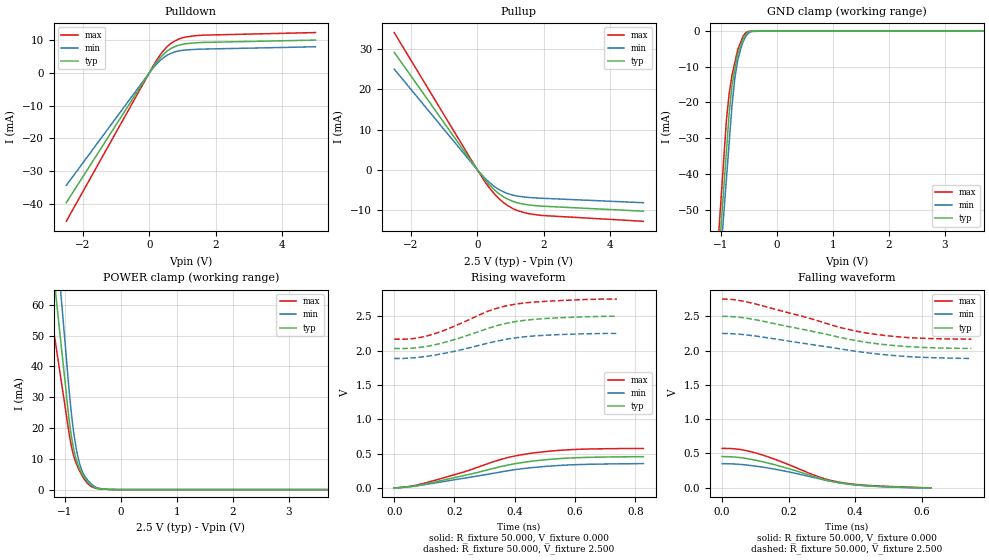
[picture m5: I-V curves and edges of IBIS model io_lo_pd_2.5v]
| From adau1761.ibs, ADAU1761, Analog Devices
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[Model]   io_lo_pd_2.5v
Model_type I/O
Vinl=7.500E-01
Vinh=1.750E+00
Vref=0.000E+00
Rref=1.000E+06
Cref=0.000E+00
Vmeas=1.250E+00
C_comp   5.9300E-13   5.6335E-13   6.2265E-13
[Voltage Range]   2.500E+00   2.250E+00   2.750E+00
[POWER Clamp Reference]   2.500E+00   2.250E+00   2.750E+00
[GND Clamp Reference]   0.000E+00   0.000E+00   0.000E+00
[Pullup Reference]   2.500E+00   2.250E+00   2.750E+00
[Pulldown Reference]   0.000E+00   0.000E+00   0.000E+00
[Temperature Range]   25   85   -40
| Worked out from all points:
|   slope of the pulldown table from 0 to 0.375 V, typ, clamps not added: 73.6 ohm
|   slope of the pullup table from 0 to 0.375 V, typ, clamps not added: 98.3 ohm
|   GND clamp passes 1 mA (typ) near -0.55 V on its own axis
|   POWER clamp passes 1 mA (typ) near -0.50 V on its own axis
|   rising waveform, R_fixture 50.000, V_fixture 0.000: 20-80 % time 277ps typ, 297ps min, 257ps max; typ from 0 V to 0.455 V
|   falling waveform, R_fixture 50.000, V_fixture 0.000: 20-80 % time 198ps typ, 209ps min, 188ps max; typ from 0.455 V to 0 V
|   rising waveform, R_fixture 50.000, V_fixture 2.500: 20-80 % time 211ps typ, 224ps min, 196ps max; typ from 2.03 V to 2.5 V
|   falling waveform, R_fixture 50.000, V_fixture 2.500: 20-80 % time 285ps typ, 303ps min, 268ps max; typ from 2.5 V to 2.03 V
[GND Clamp]
-2.5V     -381.4mA   -371.5mA   -393.2mA
-900mV    -33.63mA   -41.3mA    -24.8mA
-850mV    -22.77mA   -30.98mA   -17.38mA
-800mV    -15.14mA   -20.67mA   -12.36mA
-750mV    -10.83mA   -13.28mA   -8.858mA
-700mV    -6.525mA   -8.291mA   -5.352mA
-650mV    -4.333mA   -5.277mA   -3.365mA
-600mV    -2.14mA    -2.967mA   -1.379mA
-550mV    -873.5uA   -1.422mA   -434.8uA
-450mV    -57.55uA   -158uA     -76.16uA
-225mV    -9.459uA   -6.37uA    -2.898uA
5V        20uA       33.33uA    12.5uA
[Power Clamp]
-2.5V     292mA      367.3mA    208.9mA
-2.46V    285.1mA    358.2mA    203.7mA
-1.02V    38.54mA    52.11mA    29.5mA
-940mV    24.67mA    34.93mA    19.7mA
-900mV    19mA       27.15mA    15.37mA
-860mV    14.54mA    20.69mA    11.99mA
-800mV    9.811mA    13.41mA    8.515mA
-740mV    6.83mA     8.512mA    6.066mA
-680mV    4.697mA    5.489mA    4.096mA
-500mV    984.6uA    1.351mA    743.6uA
-20mV     0A         0A         0A
5V        0A         0A         0A
[Pullup]
-2.5V     29.2mA     25.01mA    34.09mA
0V        0A         -300.7nA   -195.6nA
240mV     -2.554mA   -2.191mA   -3.102mA
540mV     -5.158mA   -4.312mA   -6.225mA
800mV     -6.785mA   -5.542mA   -8.225mA
1.08V     -7.878mA   -6.332mA   -9.691mA
1.22V     -8.238mA   -6.559mA   -10.18mA
1.76V     -8.93mA    -7.006mA   -11.19mA
5V        -10.3mA    -8.194mA   -12.81mA
[Pulldown]
-2.5V     -39.59mA   -34.32mA   -45.27mA
80mV      1.248mA    1.039mA    1.475mA
180mV     2.708mA    2.242mA    3.214mA
400mV     5.373mA    4.392mA    6.431mA
620mV     7.211mA    5.81mA     8.719mA
940mV     8.551mA    6.759mA    10.48mA
1.38V     9.138mA    7.142mA    11.31mA
5V        9.975mA    7.934mA    12.27mA
[Rising Waveform]
R_fixture = 50.000
V_fixture = 0.000
V_fixture_min = 0.000
V_fixture_max = 0.000
|  time   V(typ)   V(min)   V(max)
0s        0V         0V         0V
47ps      14.15mV    15.33mV    18.62mV
102ps     54.41mV    47.94mV    69.31mV
237ps     184.6mV    144.2mV    239.5mV
357ps     313.3mV    234mV      418mV
431ps     372.5mV    282mV      488.8mV
527ps     419.1mV    320.4mV    539.2mV
592ps     436.7mV    336mV      558mV
667ps     446.7mV    345.2mV    568.1mV
827ps     454.6mV    353.3mV    573.8mV
[Falling Waveform]
R_fixture = 50.000
V_fixture = 0.000
V_fixture_min = 0.000
V_fixture_max = 0.000
|  time   V(typ)   V(min)   V(max)
0s        454.6mV    351.4mV    573.8mV
50ps      442.1mV    342.4mV    561.1mV
101ps     401.3mV    315.4mV    507.5mV
166ps     325.4mV    264.5mV    402.9mV
295ps     136.9mV    128mV      151.9mV
351ps     74.44mV    74.18mV    82.73mV
405ps     41.15mV    40.51mV    47.75mV
456ps     24.57mV    22mV       30.41mV
561ps     5.271mV    2.648mV    8.747mV
627ps     0V         -1.011mV   0V
[Rising Waveform]
R_fixture = 50.000
V_fixture = 2.500
V_fixture_min = 2.250
V_fixture_max = 2.750
|  time   V(typ)   V(min)   V(max)
0s        2.031V     1.885V     2.166V
62ps      2.036V     1.895V     2.175V
121ps     2.072V     1.925V     2.228V
206ps     2.168V     1.996V     2.368V
311ps     2.323V     2.108V     2.573V
350ps     2.374V     2.146V     2.629V
384ps     2.408V     2.174V     2.663V
443ps     2.446V     2.205V     2.699V
521ps     2.472V     2.228V     2.722V
739ps     2.5V       2.25V      2.75V
[Falling Waveform]
R_fixture = 50.000
V_fixture = 2.500
V_fixture_min = 2.250
V_fixture_max = 2.750
|  time   V(typ)   V(min)   V(max)
0s        2.5V       2.25V      2.75V
39ps      2.492V     2.243V     2.74V
86ps      2.462V     2.221V     2.697V
251ps     2.301V     2.101V     2.487V
357ps     2.189V     2.023V     2.334V
442ps     2.115V     1.964V     2.25V
499ps     2.082V     1.935V     2.215V
566ps     2.055V     1.911V     2.188V
635ps     2.04V      1.896V     2.174V
749ps     2.031V     1.885V     2.166V
[Ramp]
dV/dt_r   2.7447E-01/2.7650E-10   2.1143E-01/2.9719E-10   3.4541E-01/2.5669E-10
dV/dt_f   2.8164E-01/2.8512E-10   2.1887E-01/3.0256E-10   3.5035E-01/2.6753E-10
R_load = 50
